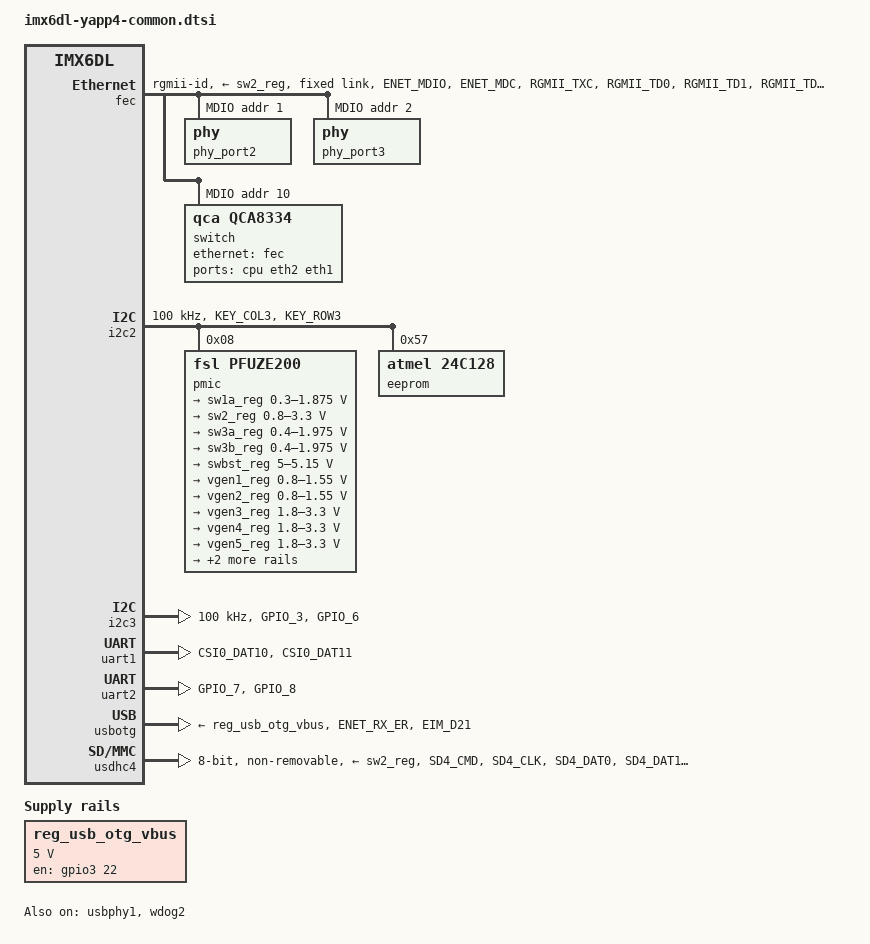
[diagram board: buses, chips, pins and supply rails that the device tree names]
// SPDX-License-Identifier: GPL-2.0
//
// Copyright (C) 2015-2018 Y Soft Corporation, a.s.

#include <dt-bindings/gpio/gpio.h>
#include <dt-bindings/interrupt-controller/irq.h>
#include <dt-bindings/input/input.h>
#include <dt-bindings/leds/common.h>
#include <dt-bindings/pwm/pwm.h>

/ {
	aliases: aliases {
		ethernet1 = &eth1;
		ethernet2 = &eth2;
		mmc0 = &usdhc3;
		mmc1 = &usdhc4;
	};

	backlight: backlight {
		compatible = "pwm-backlight";
		pwms = <&pwm1 0 500000 PWM_POLARITY_INVERTED>;
		brightness-levels = <0 32 64 128 255>;
		default-brightness-level = <32>;
		num-interpolated-steps = <8>;
		power-supply = <&sw2_reg>;
		status = "disabled";
	};

	lcd_display: display {
		compatible = "fsl,imx-parallel-display";
		#address-cells = <1>;
		#size-cells = <0>;
		interface-pix-fmt = "rgb24";
		pinctrl-names = "default";
		pinctrl-0 = <&pinctrl_ipu1>;
		status = "disabled";

		port@0 {
			reg = <0>;

			lcd_display_in: endpoint {
				remote-endpoint = <&ipu1_di0_disp0>;
			};
		};

		port@1 {
			reg = <1>;

			lcd_display_out: endpoint {
				remote-endpoint = <&lcd_panel_in>;
			};
		};
	};

	panel: panel {
		compatible = "dataimage,scf0700c48ggu18";
		power-supply = <&sw2_reg>;
		status = "disabled";

		port {
			lcd_panel_in: endpoint {
				remote-endpoint = <&lcd_display_out>;
			};
		};
	};

	reg_pcie: regulator-pcie {
		compatible = "regulator-fixed";
		pinctrl-names = "default";
		pinctrl-0 = <&pinctrl_pcie_reg>;
		regulator-name = "MPCIE_3V3";
		regulator-min-microvolt = <3300000>;
		regulator-max-microvolt = <3300000>;
		gpio = <&gpio3 19 GPIO_ACTIVE_HIGH>;
		enable-active-high;
		status = "disabled";
	};

	reg_usb_h1_vbus: regulator-usb-h1-vbus {
		compatible = "regulator-fixed";
		pinctrl-names = "default";
		pinctrl-0 = <&pinctrl_usbh1_vbus>;
		regulator-name = "usb_h1_vbus";
		regulator-min-microvolt = <5000000>;
		regulator-max-microvolt = <5000000>;
		gpio = <&gpio1 29 GPIO_ACTIVE_HIGH>;
		enable-active-high;
		status = "disabled";
	};

	reg_usb_otg_vbus: regulator-usb-otg-vbus {
		compatible = "regulator-fixed";
		pinctrl-names = "default";
		pinctrl-0 = <&pinctrl_usbotg_vbus>;
		regulator-name = "usb_otg_vbus";
		regulator-min-microvolt = <5000000>;
		regulator-max-microvolt = <5000000>;
		gpio = <&gpio3 22 GPIO_ACTIVE_HIGH>;
		enable-active-high;
		status = "okay";
	};
};

&fec {
	pinctrl-names = "default";
	pinctrl-0 = <&pinctrl_enet>;
	phy-mode = "rgmii-id";
	phy-reset-gpios = <&gpio1 25 GPIO_ACTIVE_LOW>;
	phy-reset-duration = <20>;
	phy-supply = <&sw2_reg>;
	status = "okay";

	fixed-link {
		speed = <1000>;
		full-duplex;
	};

	mdio {
		#address-cells = <1>;
		#size-cells = <0>;

		phy_port2: phy@1 {
			reg = <1>;
		};

		phy_port3: phy@2 {
			reg = <2>;
		};

		switch@10 {
			compatible = "qca,qca8334";
			reg = <10>;

			switch_ports: ports {
				#address-cells = <1>;
				#size-cells = <0>;

				ethphy0: port@0 {
					reg = <0>;
					label = "cpu";
					phy-mode = "rgmii-id";
					ethernet = <&fec>;

					fixed-link {
						speed = <1000>;
						full-duplex;
					};
				};

				eth2: port@2 {
					reg = <2>;
					label = "eth2";
					phy-handle = <&phy_port2>;
				};

				eth1: port@3 {
					reg = <3>;
					label = "eth1";
					phy-handle = <&phy_port3>;
				};
			};
		};
	};
};

&hdmi {
	pinctrl-names = "default";
	pinctrl-0 = <&pinctrl_hdmi_cec>;
	ddc-i2c-bus = <&i2c2>;
	status = "disabled";
};

&i2c2 {
	clock-frequency = <100000>;
	pinctrl-names = "default";
	pinctrl-0 = <&pinctrl_i2c2>;
	status = "okay";

	pmic@8 {
		compatible = "fsl,pfuze200";
		pinctrl-names = "default";
		pinctrl-0 = <&pinctrl_pmic>;
		reg = <0x8>;

		regulators {
			sw1a_reg: sw1ab {
				regulator-min-microvolt = <300000>;
				regulator-max-microvolt = <1875000>;
				regulator-boot-on;
				regulator-always-on;
				regulator-ramp-delay = <6250>;
			};

			sw2_reg: sw2 {
				regulator-min-microvolt = <800000>;
				regulator-max-microvolt = <3300000>;
				regulator-boot-on;
				regulator-always-on;
			};

			sw3a_reg: sw3a {
				regulator-min-microvolt = <400000>;
				regulator-max-microvolt = <1975000>;
				regulator-boot-on;
				regulator-always-on;
			};

			sw3b_reg: sw3b {
				regulator-min-microvolt = <400000>;
				regulator-max-microvolt = <1975000>;
				regulator-boot-on;
				regulator-always-on;
			};

			swbst_reg: swbst {
				regulator-min-microvolt = <5000000>;
				regulator-max-microvolt = <5150000>;
			};

			vgen1_reg: vgen1 {
				regulator-min-microvolt = <800000>;
				regulator-max-microvolt = <1550000>;
			};

			vgen2_reg: vgen2 {
				regulator-min-microvolt = <800000>;
				regulator-max-microvolt = <1550000>;
			};

			vgen3_reg: vgen3 {
				regulator-min-microvolt = <1800000>;
				regulator-max-microvolt = <3300000>;
				regulator-always-on;
			};

			vgen4_reg: vgen4 {
				regulator-min-microvolt = <1800000>;
				regulator-max-microvolt = <3300000>;
				regulator-always-on;
			};

			vgen5_reg: vgen5 {
				regulator-min-microvolt = <1800000>;
				regulator-max-microvolt = <3300000>;
				regulator-always-on;
			};

			vgen6_reg: vgen6 {
				regulator-min-microvolt = <1800000>;
				regulator-max-microvolt = <3300000>;
				regulator-always-on;
			};

			vref_reg: vrefddr {
				regulator-boot-on;
				regulator-always-on;
			};

			vsnvs_reg: vsnvs {
				regulator-min-microvolt = <1000000>;
				regulator-max-microvolt = <3000000>;
				regulator-boot-on;
				regulator-always-on;
			};
		};
	};

	leds: led-controller@30 {
		compatible = "ti,lp5562";
		reg = <0x30>;
		clock-mode = /bits/ 8 <1>;
		status = "disabled";
		#address-cells = <1>;
		#size-cells = <0>;

		chan@0 {
			chan-name = "R";
			led-cur = /bits/ 8 <0x20>;
			max-cur = /bits/ 8 <0x60>;
			reg = <0>;
			color = <LED_COLOR_ID_RED>;
		};

		chan@1 {
			chan-name = "G";
			led-cur = /bits/ 8 <0x20>;
			max-cur = /bits/ 8 <0x60>;
			reg = <1>;
			color = <LED_COLOR_ID_GREEN>;
		};

		chan@2 {
			chan-name = "B";
			led-cur = /bits/ 8 <0x20>;
			max-cur = /bits/ 8 <0x60>;
			reg = <2>;
			color = <LED_COLOR_ID_BLUE>;
		};
	};

	eeprom@57 {
		compatible = "atmel,24c128";
		reg = <0x57>;
		pagesize = <64>;
		status = "okay";
	};

	touchscreen: touchscreen@5c {
		compatible = "pixcir,pixcir_tangoc";
		reg = <0x5c>;
		pinctrl-0 = <&pinctrl_touch>;
		interrupt-parent = <&gpio4>;
		interrupts = <5 IRQ_TYPE_EDGE_FALLING>;
		attb-gpio = <&gpio4 5 GPIO_ACTIVE_HIGH>;
		reset-gpio = <&gpio1 2 GPIO_ACTIVE_HIGH>;
		touchscreen-size-x = <800>;
		touchscreen-size-y = <480>;
		status = "disabled";
	};
};

&i2c3 {
	clock-frequency = <100000>;
	pinctrl-names = "default";
	pinctrl-0 = <&pinctrl_i2c3>;
	status = "okay";

	oled_1309: oled@3c {
		compatible = "solomon,ssd1309fb-i2c";
		reg = <0x3c>;
		solomon,height = <64>;
		solomon,width = <128>;
		solomon,page-offset = <0>;
		solomon,segment-no-remap;
		solomon,prechargep2 = <15>;
		reset-gpios = <&gpio_oled 1 GPIO_ACTIVE_LOW>;
		vbat-supply = <&sw2_reg>;
		status = "disabled";
	};

	oled_1305: oled@3d {
		compatible = "solomon,ssd1305fb-i2c";
		reg = <0x3d>;
		solomon,height = <64>;
		solomon,width = <128>;
		solomon,page-offset = <0>;
		solomon,col-offset = <4>;
		solomon,prechargep2 = <15>;
		reset-gpios = <&gpio_oled 1 GPIO_ACTIVE_LOW>;
		vbat-supply = <&sw2_reg>;
		status = "disabled";
	};

	gpio_oled: gpio@41 {
		compatible = "nxp,pca9536";
		gpio-controller;
		#gpio-cells = <2>;
		reg = <0x41>;
		vcc-supply = <&sw2_reg>;
		status = "disabled";
	};

	touchkeys: keys@5a {
		compatible = "fsl,mpr121-touchkey";
		reg = <0x5a>;
		vdd-supply = <&sw2_reg>;
		autorepeat;
		linux,keycodes = <KEY_1>, <KEY_2>, <KEY_3>, <KEY_4>, <KEY_5>,
				<KEY_6>, <KEY_7>, <KEY_8>, <KEY_9>,
				<KEY_BACKSPACE>, <KEY_0>, <KEY_ENTER>;
		poll-interval = <50>;
		status = "disabled";
	};
};

&iomuxc {
	pinctrl_enet: enetgrp {
		fsl,pins = <
			MX6QDL_PAD_ENET_MDIO__ENET_MDIO		0x1b020
			MX6QDL_PAD_ENET_MDC__ENET_MDC		0x1b020
			MX6QDL_PAD_RGMII_TXC__RGMII_TXC		0x1b020
			MX6QDL_PAD_RGMII_TD0__RGMII_TD0		0x1b020
			MX6QDL_PAD_RGMII_TD1__RGMII_TD1		0x1b020
			MX6QDL_PAD_RGMII_TD2__RGMII_TD2		0x1b020
			MX6QDL_PAD_RGMII_TD3__RGMII_TD3		0x1b020
			MX6QDL_PAD_RGMII_TX_CTL__RGMII_TX_CTL	0x1b020
			MX6QDL_PAD_RGMII_RXC__RGMII_RXC		0x1b020
			MX6QDL_PAD_RGMII_RD0__RGMII_RD0		0x1b020
			MX6QDL_PAD_RGMII_RD1__RGMII_RD1		0x1b020
			MX6QDL_PAD_RGMII_RD2__RGMII_RD2		0x1b020
			MX6QDL_PAD_RGMII_RD3__RGMII_RD3		0x1b020
			MX6QDL_PAD_RGMII_RX_CTL__RGMII_RX_CTL	0x1b020
			MX6QDL_PAD_ENET_REF_CLK__ENET_TX_CLK	0x1b010
			MX6QDL_PAD_GPIO_16__ENET_REF_CLK	0x1b010
			MX6QDL_PAD_ENET_CRS_DV__GPIO1_IO25	0x1b098
		>;
	};

	pinctrl_hdmi_cec: hdmicecgrp {
		fsl,pins = <
			MX6QDL_PAD_EIM_A25__HDMI_TX_CEC_LINE	0x1b898
		>;
	};

	pinctrl_i2c2: i2c2grp {
		fsl,pins = <
			MX6QDL_PAD_KEY_COL3__I2C2_SCL	0x4001b899
			MX6QDL_PAD_KEY_ROW3__I2C2_SDA	0x4001b899
		>;
	};

	pinctrl_i2c3: i2c3grp {
		fsl,pins = <
			MX6QDL_PAD_GPIO_3__I2C3_SCL	0x4001b899
			MX6QDL_PAD_GPIO_6__I2C3_SDA	0x4001b899
		>;
	};

	pinctrl_ipu1: ipu1grp {
		fsl,pins = <
			MX6QDL_PAD_DI0_DISP_CLK__IPU1_DI0_DISP_CLK	0x10
			MX6QDL_PAD_DI0_PIN2__IPU1_DI0_PIN02		0x10
			MX6QDL_PAD_DI0_PIN3__IPU1_DI0_PIN03		0x10
			MX6QDL_PAD_DISP0_DAT0__IPU1_DISP0_DATA00	0x10
			MX6QDL_PAD_DISP0_DAT1__IPU1_DISP0_DATA01	0x10
			MX6QDL_PAD_DISP0_DAT2__IPU1_DISP0_DATA02	0x10
			MX6QDL_PAD_DISP0_DAT3__IPU1_DISP0_DATA03	0x10
			MX6QDL_PAD_DISP0_DAT4__IPU1_DISP0_DATA04	0x10
			MX6QDL_PAD_DISP0_DAT5__IPU1_DISP0_DATA05	0x10
			MX6QDL_PAD_DISP0_DAT6__IPU1_DISP0_DATA06	0x10
			MX6QDL_PAD_DISP0_DAT7__IPU1_DISP0_DATA07	0x10
			MX6QDL_PAD_DISP0_DAT8__IPU1_DISP0_DATA08	0x10
			MX6QDL_PAD_DISP0_DAT9__IPU1_DISP0_DATA09	0x10
			MX6QDL_PAD_DISP0_DAT10__IPU1_DISP0_DATA10	0x10
			MX6QDL_PAD_DISP0_DAT11__IPU1_DISP0_DATA11	0x10
			MX6QDL_PAD_DISP0_DAT12__IPU1_DISP0_DATA12	0x10
			MX6QDL_PAD_DISP0_DAT13__IPU1_DISP0_DATA13	0x10
			MX6QDL_PAD_DISP0_DAT14__IPU1_DISP0_DATA14	0x10
			MX6QDL_PAD_DISP0_DAT15__IPU1_DISP0_DATA15	0x10
			MX6QDL_PAD_DISP0_DAT16__IPU1_DISP0_DATA16	0x10
			MX6QDL_PAD_DISP0_DAT17__IPU1_DISP0_DATA17	0x10
			MX6QDL_PAD_DISP0_DAT18__IPU1_DISP0_DATA18	0x10
			MX6QDL_PAD_DISP0_DAT19__IPU1_DISP0_DATA19	0x10
			MX6QDL_PAD_DISP0_DAT20__IPU1_DISP0_DATA20	0x10
			MX6QDL_PAD_DISP0_DAT21__IPU1_DISP0_DATA21	0x10
			MX6QDL_PAD_DISP0_DAT22__IPU1_DISP0_DATA22	0x10
			MX6QDL_PAD_DISP0_DAT23__IPU1_DISP0_DATA23	0x10
		>;
	};

	pinctrl_pcie: pciegrp {
		fsl,pins = <
			MX6QDL_PAD_GPIO_17__GPIO7_IO12		0x1b098
			MX6QDL_PAD_KEY_COL4__GPIO4_IO14		0x1b098
			MX6QDL_PAD_CSI0_DATA_EN__GPIO5_IO20	0x1b098
		>;
	};

	pinctrl_pcie_reg: pciereggrp {
		fsl,pins = <
			MX6QDL_PAD_EIM_D19__GPIO3_IO19	0x1b098
		>;
	};

	pinctrl_pmic: pmicgrp {
		fsl,pins = <
			MX6QDL_PAD_GPIO_18__GPIO7_IO13	0x1b098
		>;
	};

	pinctrl_pwm1: pwm1grp {
		fsl,pins = <
			MX6QDL_PAD_GPIO_9__PWM1_OUT	0x8
		>;
	};

	pinctrl_touch: touchgrp {
		fsl,pins = <
			MX6QDL_PAD_GPIO_19__GPIO4_IO05	0x1b098
			MX6QDL_PAD_GPIO_2__GPIO1_IO02	0x1b098
		>;
	};

	pinctrl_uart1: uart1grp {
		fsl,pins = <
			MX6QDL_PAD_CSI0_DAT10__UART1_TX_DATA	0x1b0a8
			MX6QDL_PAD_CSI0_DAT11__UART1_RX_DATA	0x1b0a8
		>;
	};

	pinctrl_uart2: uart2grp {
		fsl,pins = <
			MX6QDL_PAD_GPIO_7__UART2_TX_DATA	0x1b098
			MX6QDL_PAD_GPIO_8__UART2_RX_DATA	0x1b098
		>;
	};

	pinctrl_usbh1: usbh1grp {
		fsl,pins = <
			MX6QDL_PAD_EIM_D30__USB_H1_OC	0x1b098
		>;
	};

	pinctrl_usbh1_vbus: usbh1-vbus {
		fsl,pins = <
			MX6QDL_PAD_ENET_TXD1__GPIO1_IO29	0x98
		>;
	};

	pinctrl_usbotg: usbotggrp {
		fsl,pins = <
			MX6QDL_PAD_ENET_RX_ER__USB_OTG_ID	0x1b098
			MX6QDL_PAD_EIM_D21__USB_OTG_OC		0x1b098
		>;
	};

	pinctrl_usbotg_vbus: usbotg-vbus {
		fsl,pins = <
			MX6QDL_PAD_EIM_D22__GPIO3_IO22	0x98
		>;
	};

	pinctrl_usdhc3: usdhc3grp {
		fsl,pins = <
			MX6QDL_PAD_EIM_A16__GPIO2_IO22	0x1b018
			MX6QDL_PAD_SD3_RST__GPIO7_IO08	0x1b018
			MX6QDL_PAD_SD3_CMD__SD3_CMD	0x17059
			MX6QDL_PAD_SD3_CLK__SD3_CLK	0x10059
			MX6QDL_PAD_SD3_DAT0__SD3_DATA0	0x17059
			MX6QDL_PAD_SD3_DAT1__SD3_DATA1	0x17059
			MX6QDL_PAD_SD3_DAT2__SD3_DATA2	0x17059
			MX6QDL_PAD_SD3_DAT3__SD3_DATA3	0x17059
		>;
	};

	pinctrl_usdhc4: usdhc4grp {
		fsl,pins = <
			MX6QDL_PAD_SD4_CMD__SD4_CMD	0x1f069
			MX6QDL_PAD_SD4_CLK__SD4_CLK	0x10069
			MX6QDL_PAD_SD4_DAT0__SD4_DATA0	0x17069
			MX6QDL_PAD_SD4_DAT1__SD4_DATA1	0x17069
			MX6QDL_PAD_SD4_DAT2__SD4_DATA2	0x17069
			MX6QDL_PAD_SD4_DAT3__SD4_DATA3	0x17069
			MX6QDL_PAD_SD4_DAT4__SD4_DATA4	0x17069
			MX6QDL_PAD_SD4_DAT5__SD4_DATA5	0x17069
			MX6QDL_PAD_SD4_DAT6__SD4_DATA6	0x17069
			MX6QDL_PAD_SD4_DAT7__SD4_DATA7	0x17069
		>;
	};

	pinctrl_wdog: wdoggrp {
		fsl,pins = <
			MX6QDL_PAD_GPIO_1__WDOG2_B	0x1b0b0
		>;
	};
};

&ipu1_di0_disp0 {
	remote-endpoint = <&lcd_display_in>;
};

&pcie {
	pinctrl-names = "default";
	pinctrl-0 = <&pinctrl_pcie>;
	reset-gpio = <&gpio7 12 GPIO_ACTIVE_LOW>;
	vpcie-supply = <&reg_pcie>;
	status = "disabled";
};

&pwm1 {
	pinctrl-names = "default";
	pinctrl-0 = <&pinctrl_pwm1>;
	status = "disabled";
};

&uart1 {
	pinctrl-names = "default";
	pinctrl-0 = <&pinctrl_uart1>;
	status = "okay";
};

&uart2 {
	pinctrl-names = "default";
	pinctrl-0 = <&pinctrl_uart2>;
	status = "okay";
};

&usbh1 {
	pinctrl-names = "default";
	pinctrl-0 = <&pinctrl_usbh1>;
	vbus-supply = <&reg_usb_h1_vbus>;
	over-current-active-low;
	status = "disabled";
};

&usbotg {
	pinctrl-names = "default";
	pinctrl-0 = <&pinctrl_usbotg>;
	vbus-supply = <&reg_usb_otg_vbus>;
	over-current-active-low;
	srp-disable;
	hnp-disable;
	adp-disable;
	status = "okay";
};

&usbphy1 {
	fsl,tx-d-cal = <106>;
	status = "okay";
};

&usbphy2 {
	fsl,tx-d-cal = <109>;
	status = "disabled";
};

&usdhc3 {
	pinctrl-names = "default";
	pinctrl-0 = <&pinctrl_usdhc3>;
	bus-width = <4>;
	cd-gpios = <&gpio7 8 GPIO_ACTIVE_LOW>;
	wp-gpios = <&gpio2 22 GPIO_ACTIVE_HIGH>;
	no-1-8-v;
	keep-power-in-suspend;
	wakeup-source;
	vmmc-supply = <&sw2_reg>;
	status = "disabled";
};

&usdhc4 {
	pinctrl-names = "default";
	pinctrl-0 = <&pinctrl_usdhc4>;
	bus-width = <8>;
	non-removable;
	no-1-8-v;
	keep-power-in-suspend;
	vmmc-supply = <&sw2_reg>;
	status = "okay";
};

&wdog1 {
	status = "disabled";
};

&wdog2 {
	pinctrl-names = "default";
	pinctrl-0 = <&pinctrl_wdog>;
	fsl,ext-reset-output;
	status = "okay";
};
